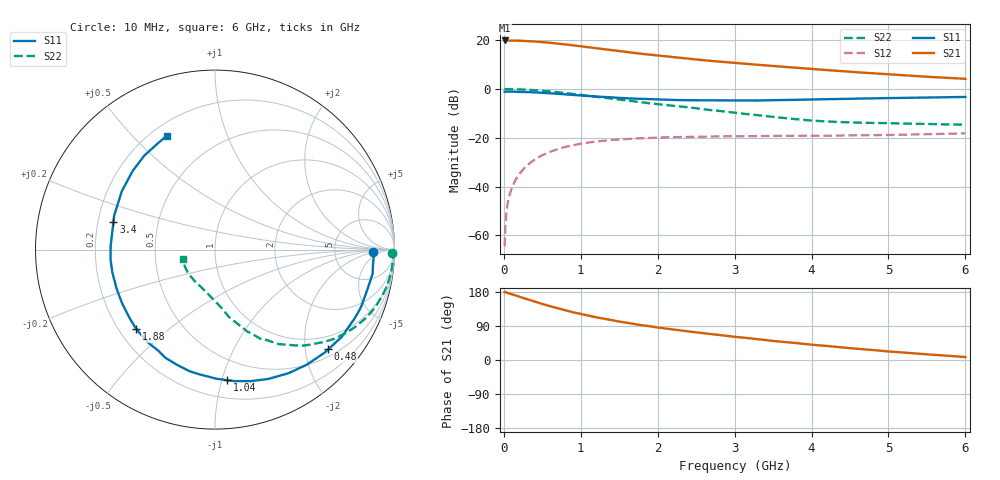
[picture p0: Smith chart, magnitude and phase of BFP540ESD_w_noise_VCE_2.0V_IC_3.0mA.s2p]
! Infineon Technologies  Discrete & RF Semiconductors
! BFP540ESD
! VCE =  2.0 V,  IC =  3.0 mA
! Common Emitter S-Parameters:  Nov 2015
# GHz  S  MA  R  50
!  f  S11  S21  S12  S22
! GHz  MAG  ANG  MAG  ANG  MAG  ANG  MAG  ANG
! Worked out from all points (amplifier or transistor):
!   210 points, 10 MHz to 6 GHz, reference 50 ohm
!   highest |S21| = 19.9 dB at 10 MHz (marker M1)
!   |S21| within 3 dB of that: start of sweep to 1.151 GHz
!   unconditionally stable (mu >= 1): 3.766 GHz to end of sweep
!   at 185 MHz: K = 0.01, MSG = 27.7 dB, |S12| = -35.5 dB
!   at 1.52 GHz: K = 0.35, MSG = 18.0 dB, |S12| = -20.6 dB
!   at 6 GHz: K = 1.31, MAG = 7.8 dB, |S12| = -18.2 dB
!   lowest NFmin = 0.63 dB at 900 MHz
!   S11 on the Smith chart (normalised r, x): 10 MHz: 16, -1; 480 MHz: 0.66, -2.50; 1.04 GHz: 0.33, -1.04; 1.88 GHz: 0.27, -0.39; 3.4 GHz: 0.26, +0.13; 6 GHz: 0.26, +0.63
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0.01  0.8804 -0.7  9.923 179.2  0.0006 76.1  0.9854 -1.2
0.02  0.8856 -2.0  9.892 179.1  0.0015 88.9  1 -1.1
0.04  0.8842 -3.5  9.886 177.6  0.0036 86.4  0.9965 -2.0
0.105  0.8874 -9.1  9.91 173.4  0.0095 84.7  0.9916 -5.1
0.15  0.8803 -13.0  9.888 170.5  0.0136 83.1  0.9897 -7.3
0.3  0.8674 -26.1  9.657 160.6  0.027 78.2  0.9697 -14.6
0.48  0.8406 -41.4  9.272 149.2  0.0424 69.5  0.9299 -23.1
0.6  0.82 -51.5  8.89 141.9  0.0515 64.8  0.8959 -28.4
0.8  0.7795 -67.6  8.25 131.0  0.0654 56.7  0.8294 -36.8
1.02  0.7348 -83.3  7.466 120.6  0.0769 49.4  0.7542 -44.4
1.04  0.7303 -84.7  7.398 119.7  0.0777 48.7  0.7472 -45.1
1.2  0.7031 -96.0  6.856 112.7  0.0838 43.3  0.6956 -50.1
1.5  0.6628 -114.7  5.997 101.4  0.0927 35.7  0.6075 -58.0
1.7  0.6384 -125.8  5.505 94.8  0.0966 31.6  0.5564 -63.1
1.88  0.6224 -134.7  5.105 89.5  0.0995 28.5  0.5149 -66.0
2.02  0.6085 -141.9  4.837 85.2  0.1016 26.5  0.4879 -68.7
2.56  0.5861 -165.2  3.945 71.5  0.1053 19.7  0.3913 -77.4
3.1  0.58 174.7  3.334 59.3  0.1078 15.4  0.3141 -85.4
3.4  0.5867 164.7  3.056 52.7  0.1093 13.4  0.2789 -91.6
4.1  0.6153 145.4  2.518 38.8  0.1103 9.9  0.2208 -111.6
5.1  0.6575 125.3  1.964 21.1  0.1151 7.7  0.1978 -140.6
6  0.6894 112.8  1.622 7.8  0.1233 7.2  0.1861 -163.1
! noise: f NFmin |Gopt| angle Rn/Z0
0.9  0.63  0.27  45  0.15
1.8  0.89  0.21  92  0.13
2.4  0.92  0.26  109  0.1
3  1.12  0.29  144  0.09
4  1.37  0.29  -141  0.15
5  1.69  0.42  -108  0.35
6  1.9  0.55  -106  0.52
